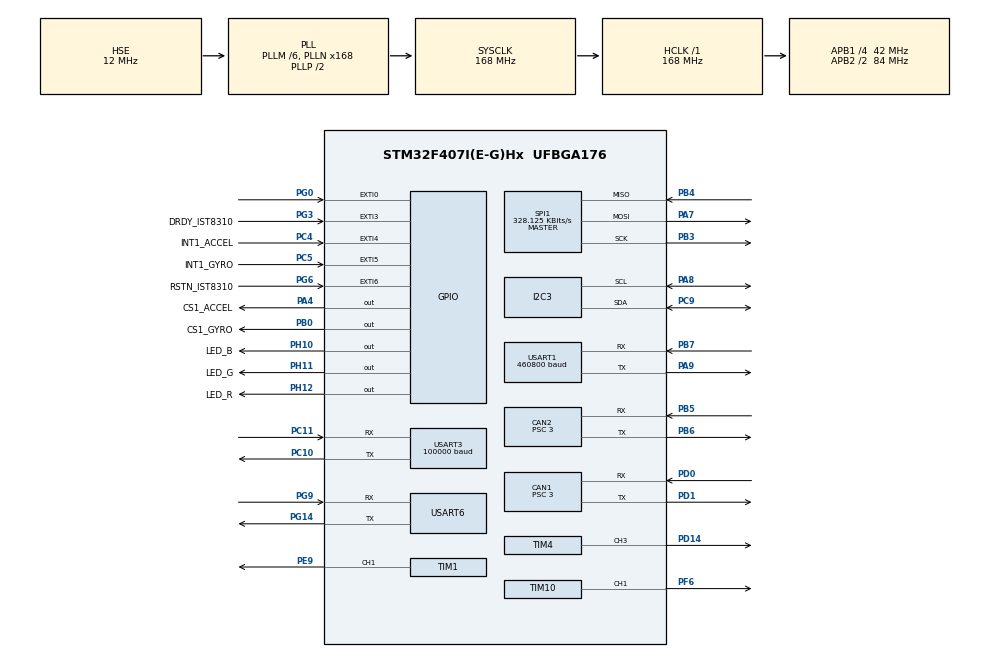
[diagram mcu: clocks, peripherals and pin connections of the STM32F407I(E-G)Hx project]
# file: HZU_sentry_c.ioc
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CAN1.BS1=CAN_BS1_10TQ
CAN1.BS2=CAN_BS2_3TQ
CAN1.CalculateBaudRate=1000000
CAN1.CalculateTimeBit=1000
CAN1.CalculateTimeQuantum=71.42857142857143
CAN1.Prescaler=3
CAN2.BS1=CAN_BS1_10TQ
CAN2.BS2=CAN_BS2_3TQ
CAN2.CalculateBaudRate=1000000
CAN2.CalculateTimeBit=1000
CAN2.CalculateTimeQuantum=71.42857142857143
CAN2.Prescaler=3
Dma.Request0=USART3_RX
Dma.Request1=USART1_RX
Dma.Request2=USART1_TX
Dma.Request3=SPI1_RX
Dma.Request4=SPI1_TX
Dma.Request5=USART6_RX
Dma.SPI1_RX.3.Direction=DMA_PERIPH_TO_MEMORY
Dma.SPI1_RX.3.FIFOMode=DMA_FIFOMODE_DISABLE
Dma.SPI1_RX.3.Instance=DMA2_Stream2
Dma.SPI1_RX.3.MemDataAlignment=DMA_MDATAALIGN_BYTE
Dma.SPI1_RX.3.MemInc=DMA_MINC_ENABLE
Dma.SPI1_RX.3.Mode=DMA_NORMAL
Dma.SPI1_RX.3.PeriphDataAlignment=DMA_PDATAALIGN_BYTE
Dma.SPI1_RX.3.PeriphInc=DMA_PINC_DISABLE
Dma.SPI1_RX.3.Priority=DMA_PRIORITY_VERY_HIGH
Dma.SPI1_TX.4.Direction=DMA_MEMORY_TO_PERIPH
Dma.SPI1_TX.4.FIFOMode=DMA_FIFOMODE_DISABLE
Dma.SPI1_TX.4.Instance=DMA2_Stream3
Dma.SPI1_TX.4.MemDataAlignment=DMA_MDATAALIGN_BYTE
Dma.SPI1_TX.4.MemInc=DMA_MINC_ENABLE
Dma.SPI1_TX.4.Mode=DMA_NORMAL
Dma.SPI1_TX.4.PeriphDataAlignment=DMA_PDATAALIGN_BYTE
Dma.SPI1_TX.4.PeriphInc=DMA_PINC_DISABLE
Dma.SPI1_TX.4.Priority=DMA_PRIORITY_HIGH
Dma.USART1_RX.1.Direction=DMA_PERIPH_TO_MEMORY
Dma.USART1_RX.1.FIFOMode=DMA_FIFOMODE_DISABLE
Dma.USART1_RX.1.Instance=DMA2_Stream5
Dma.USART1_RX.1.MemDataAlignment=DMA_MDATAALIGN_BYTE
Dma.USART1_RX.1.MemInc=DMA_MINC_ENABLE
Dma.USART1_RX.1.Mode=DMA_NORMAL
Dma.USART1_RX.1.PeriphDataAlignment=DMA_PDATAALIGN_BYTE
Dma.USART1_RX.1.PeriphInc=DMA_PINC_DISABLE
Dma.USART1_RX.1.Priority=DMA_PRIORITY_HIGH
Dma.USART1_TX.2.Direction=DMA_MEMORY_TO_PERIPH
Dma.USART1_TX.2.FIFOMode=DMA_FIFOMODE_DISABLE
Dma.USART1_TX.2.Instance=DMA2_Stream7
Dma.USART1_TX.2.MemDataAlignment=DMA_MDATAALIGN_BYTE
Dma.USART1_TX.2.MemInc=DMA_MINC_ENABLE
Dma.USART1_TX.2.Mode=DMA_NORMAL
Dma.USART1_TX.2.PeriphDataAlignment=DMA_PDATAALIGN_BYTE
Dma.USART1_TX.2.PeriphInc=DMA_PINC_DISABLE
Dma.USART1_TX.2.Priority=DMA_PRIORITY_MEDIUM
Dma.USART3_RX.0.Direction=DMA_PERIPH_TO_MEMORY
Dma.USART3_RX.0.FIFOMode=DMA_FIFOMODE_DISABLE
Dma.USART3_RX.0.Instance=DMA1_Stream1
Dma.USART3_RX.0.MemDataAlignment=DMA_MDATAALIGN_BYTE
Dma.USART3_RX.0.MemInc=DMA_MINC_ENABLE
Dma.USART3_RX.0.Mode=DMA_CIRCULAR
Dma.USART3_RX.0.PeriphDataAlignment=DMA_PDATAALIGN_BYTE
Dma.USART3_RX.0.PeriphInc=DMA_PINC_DISABLE
Dma.USART3_RX.0.Priority=DMA_PRIORITY_HIGH
Dma.USART6_RX.5.Direction=DMA_PERIPH_TO_MEMORY
Dma.USART6_RX.5.FIFOMode=DMA_FIFOMODE_DISABLE
Dma.USART6_RX.5.Instance=DMA2_Stream1
Dma.USART6_RX.5.MemDataAlignment=DMA_MDATAALIGN_BYTE
Dma.USART6_RX.5.MemInc=DMA_MINC_ENABLE
Dma.USART6_RX.5.Mode=DMA_NORMAL
Dma.USART6_RX.5.PeriphDataAlignment=DMA_PDATAALIGN_BYTE
Dma.USART6_RX.5.PeriphInc=DMA_PINC_DISABLE
Dma.USART6_RX.5.Priority=DMA_PRIORITY_HIGH
FREERTOS.INCLUDE_pcTaskGetTaskName=1
FREERTOS.INCLUDE_uxTaskGetStackHighWaterMark2=1
FREERTOS.INCLUDE_vTaskCleanUpResources=1
FREERTOS.INCLUDE_xEventGroupSetBitFromISR=1
FREERTOS.INCLUDE_xSemaphoreGetMutexHolder=1
FREERTOS.INCLUDE_xTaskAbortDelay=1
FREERTOS.INCLUDE_xTaskGetHandle=1
FREERTOS.Tasks01=defaultTask,24,128,StartDefaultTask,Default,NULL,Dynamic,NULL,NULL
FREERTOS.configCHECK_FOR_STACK_OVERFLOW=2
FREERTOS.configENABLE_BACKWARD_COMPATIBILITY=0
FREERTOS.configENABLE_FPU=1
FREERTOS.configGENERATE_RUN_TIME_STATS=1
FREERTOS.configRECORD_STACK_HIGH_ADDRESS=1
FREERTOS.configTOTAL_HEAP_SIZE=0x6000
FREERTOS.configUSE_STATS_FORMATTING_FUNCTIONS=1
Mcu.Family=STM32F4
Mcu.Name=STM32F407I(E-G)Hx
Mcu.Package=UFBGA176
NVIC.CAN1_RX0_IRQn=true\:5\:0\:false\:false\:true\:true\:true\:true\:true
NVIC.CAN2_RX0_IRQn=true\:5\:0\:false\:false\:true\:true\:true\:true\:true
NVIC.CAN2_TX_IRQn=true\:5\:0\:false\:false\:true\:true\:true\:true\:true
NVIC.DMA1_Stream1_IRQn=true\:5\:0\:false\:false\:true\:true\:false\:true\:true
NVIC.DMA2_Stream1_IRQn=true\:5\:0\:false\:false\:true\:true\:false\:true\:true
NVIC.DMA2_Stream2_IRQn=true\:5\:0\:true\:false\:true\:false\:false\:true\:true
NVIC.DMA2_Stream3_IRQn=true\:5\:0\:false\:false\:true\:true\:false\:true\:true
NVIC.DMA2_Stream5_IRQn=true\:5\:0\:true\:false\:true\:false\:false\:true\:true
NVIC.DMA2_Stream7_IRQn=true\:5\:0\:false\:false\:true\:true\:false\:true\:true
NVIC.EXTI0_IRQn=true\:5\:0\:false\:false\:true\:true\:true\:true\:true
NVIC.EXTI3_IRQn=true\:5\:0\:false\:false\:true\:true\:true\:true\:true
NVIC.EXTI4_IRQn=true\:5\:0\:false\:false\:true\:true\:true\:true\:true
NVIC.EXTI9_5_IRQn=true\:5\:0\:false\:false\:true\:true\:true\:true\:true
NVIC.PriorityGroup=NVIC_PRIORITYGROUP_4
NVIC.TIM2_IRQn=true\:15\:0\:false\:false\:true\:false\:false\:true\:true
NVIC.TIM3_IRQn=true\:5\:0\:false\:false\:true\:true\:true\:true\:true
NVIC.TimeBase=TIM2_IRQn
NVIC.TimeBaseIP=TIM2
NVIC.USART1_IRQn=true\:5\:0\:false\:false\:true\:true\:true\:true\:true
NVIC.USART6_IRQn=true\:5\:0\:false\:false\:true\:true\:true\:true\:true
PA13.Mode=Serial_Wire
PA13.Signal=SYS_JTMS-SWDIO
PA14.Mode=Serial_Wire
PA14.Signal=SYS_JTCK-SWCLK
PA4.GPIO_Label=CS1_ACCEL
PA4.GPIO_PuPd=GPIO_PULLUP
PA4.PinState=GPIO_PIN_SET
PA4.Signal=GPIO_Output
PA7.Mode=Full_Duplex_Master
PA7.Signal=SPI1_MOSI
PA8.Mode=I2C
PA8.Signal=I2C3_SCL
PA9.Mode=Asynchronous
PA9.Signal=USART1_TX
PB0.GPIO_Label=CS1_GYRO
PB0.GPIO_PuPd=GPIO_PULLUP
PB0.GPIO_Speed=GPIO_SPEED_FREQ_HIGH
PB0.Signal=GPIO_Output
PB3.Mode=Full_Duplex_Master
PB3.Signal=SPI1_SCK
PB4.Mode=Full_Duplex_Master
PB4.Signal=SPI1_MISO
PB5.Mode=CAN_Activate
PB5.Signal=CAN2_RX
PB6.Mode=CAN_Activate
PB6.Signal=CAN2_TX
PB7.Mode=Asynchronous
PB7.Signal=USART1_RX
PC10.Mode=Asynchronous
PC10.Signal=USART3_TX
PC11.Mode=Asynchronous
PC11.Signal=USART3_RX
PC4.GPIO_Label=INT1_ACCEL
PC4.GPIO_PuPd=GPIO_PULLUP
PC4.Signal=GPXTI4
PC5.GPIO_Label=INT1_GYRO
PC5.GPIO_PuPd=GPIO_PULLUP
PC5.Signal=GPXTI5
PC9.Mode=I2C
PC9.Signal=I2C3_SDA
PD0.Mode=CAN_Activate
PD0.Signal=CAN1_RX
PD1.Mode=CAN_Activate
PD1.Signal=CAN1_TX
PD14.Signal=S_TIM4_CH3
PE9.Signal=S_TIM1_CH1
PF6.Signal=S_TIM10_CH1
PG0.GPIO_PuPd=GPIO_PULLUP
PG0.Signal=GPXTI0
PG14.Mode=Asynchronous
PG14.Signal=USART6_TX
PG3.GPIO_Label=DRDY_IST8310
PG3.GPIO_PuPd=GPIO_PULLUP
PG3.Signal=GPXTI3
PG6.GPIO_Label=RSTN_IST8310
PG6.GPIO_PuPd=GPIO_PULLUP
PG6.Signal=GPXTI6
PG9.Mode=Asynchronous
PG9.Signal=USART6_RX
PH0-OSC_IN.Mode=HSE-External-Oscillator
PH0-OSC_IN.Signal=RCC_OSC_IN
PH1-OSC_OUT.Mode=HSE-External-Oscillator
PH1-OSC_OUT.Signal=RCC_OSC_OUT
PH10.GPIO_Label=LED_B
PH10.GPIO_PuPd=GPIO_PULLUP
PH10.GPIO_Speed=GPIO_SPEED_FREQ_VERY_HIGH
PH10.Signal=GPIO_Output
PH11.GPIO_Label=LED_G
PH11.GPIO_PuPd=GPIO_PULLUP
PH11.GPIO_Speed=GPIO_SPEED_FREQ_VERY_HIGH
PH11.Signal=GPIO_Output
PH12.GPIO_Label=LED_R
PH12.GPIO_PuPd=GPIO_PULLUP
PH12.GPIO_Speed=GPIO_SPEED_FREQ_VERY_HIGH
PH12.Signal=GPIO_Output
ProjectManager.HeapSize=0x200
ProjectManager.StackSize=0x400
ProjectManager.TargetToolchain=MDK-ARM V5.32
RCC.48MHZClocksFreq_Value=84000000
RCC.AHBFreq_Value=168000000
RCC.APB1CLKDivider=RCC_HCLK_DIV4
RCC.APB1Freq_Value=42000000
RCC.APB1TimFreq_Value=84000000
RCC.APB2CLKDivider=RCC_HCLK_DIV2
RCC.APB2Freq_Value=84000000
RCC.APB2TimFreq_Value=168000000
RCC.CortexFreq_Value=168000000
RCC.HCLKFreq_Value=168000000
RCC.HSE_VALUE=12000000
RCC.HSI_VALUE=16000000
RCC.LSE_VALUE=32768
RCC.PLLM=6
RCC.PLLN=168
RCC.PLLSourceVirtual=RCC_PLLSOURCE_HSE
RCC.SYSCLKFreq_VALUE=168000000
RCC.SYSCLKSource=RCC_SYSCLKSOURCE_PLLCLK
RCC.VCOOutputFreq_Value=336000000
SH.S_TIM10_CH1.0=TIM10_CH1,PWM Generation1 CH1
SH.S_TIM1_CH1.0=TIM1_CH1,PWM Generation1 CH1
SH.S_TIM4_CH3.0=TIM4_CH3,PWM Generation3 CH3
SPI1.BaudRatePrescaler=SPI_BAUDRATEPRESCALER_256
SPI1.CalculateBaudRate=328.125 KBits/s
SPI1.Direction=SPI_DIRECTION_2LINES
SPI1.Mode=SPI_MODE_MASTER
SPI1.VirtualType=VM_MASTER
TIM1.Channel-PWM\ Generation1\ CH1=TIM_CHANNEL_1
TIM1.Period=19999
TIM1.Prescaler=83
TIM1.Pulse-PWM\ Generation1\ CH1=10000
TIM10.Channel=TIM_CHANNEL_1
TIM10.Period=4999
TIM10.Pulse=2500
TIM3.Period=49
TIM3.Prescaler=83
TIM4.Channel-PWM\ Generation3\ CH3=TIM_CHANNEL_3
TIM4.Period=250
TIM4.Prescaler=83
TIM4.Pulse-PWM\ Generation3\ CH3=125
USART1.BaudRate=460800
USART1.VirtualMode=VM_ASYNC
USART3.BaudRate=100000
USART3.Mode=MODE_RX
USART3.Parity=PARITY_EVEN
USART3.VirtualMode=VM_ASYNC
USART6.VirtualMode=VM_ASYNC
VP_FREERTOS_VS_CMSIS_V2.Mode=CMSIS_V2
VP_SYS_VS_tim2.Mode=TIM2
VP_TIM10_VS_ClockSourceINT.Mode=Enable_Timer
VP_TIM3_VS_ClockSourceINT.Mode=Internal
VP_TIM4_VS_ClockSourceINT.Mode=Internal
board=custom

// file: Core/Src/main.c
/* USER CODE BEGIN Header */
/**
  ******************************************************************************
  * @file           : main.c
  * @brief          : Main program body
  ******************************************************************************
  * @attention
  *
  * Copyright (c) 2023 STMicroelectronics.
  * All rights reserved.
  *
  * This software is licensed under terms that can be found in the LICENSE file
  * in the root directory of this software component.
  * If no LICENSE file comes with this software, it is provided AS-IS.
  *
  ******************************************************************************
  */
/* USER CODE END Header */
#include "main.h"
#include "cmsis_os.h"
#include "can.h"
#include "dma.h"
#include "i2c.h"
#include "spi.h"
#include "tim.h"
#include "usart.h"
#include "gpio.h"

/* USER CODE BEGIN PV */
extern uint8_t abuffer;
float value=0;
uint8 getflag=0;
/* USER CODE END PV */

void SystemClock_Config(void);
void MX_FREERTOS_Init(void);

int main(void)
{

  /* MCU Configuration--------------------------------------------------------*/

  /* Reset of all peripherals, Initializes the Flash interface and the Systick. */
  HAL_Init();

  /* Configure the system clock */
  SystemClock_Config();

  /* USER CODE BEGIN SysInit */
		delay_init(168);
		delay_ms(100);
  /* USER CODE END SysInit */

  /* Initialize all configured peripherals */
  MX_GPIO_Init();
  MX_DMA_Init();
  MX_USART3_UART_Init();
  MX_USART1_UART_Init();
  MX_CAN1_Init();
  MX_CAN2_Init();
  MX_I2C3_Init();
  MX_SPI1_Init();
  MX_TIM1_Init();
  MX_TIM3_Init();
  MX_TIM4_Init();
  MX_TIM10_Init();
  MX_USART6_UART_Init();
  /* USER CODE BEGIN 2 */
	HAL_UART_Receive_IT(&huart6,(uint8_t*)&abuffer,1);
  led_configuration();
  freertos_run_tim3_configuration();
  usart_Receive_DMA();
  CAN_APP_INIT();
  oled_init();
  HAL_TIM_Base_Start(&htim1);
  HAL_TIM_PWM_Start(&htim1,TIM_CHANNEL_1);
  /* USER CODE END 2 */

  /* Init scheduler */
  osKernelInitialize();  /* Call init function for freertos objects (in freertos.c) */
  MX_FREERTOS_Init();

  /* Start scheduler */
  osKernelStart();

  /* We should never get here as control is now taken by the scheduler */
  /* Infinite loop */
  while (1)
  {

  }
}

void SystemClock_Config(void)
{
  RCC_OscInitTypeDef RCC_OscInitStruct = {0};
  RCC_ClkInitTypeDef RCC_ClkInitStruct = {0};

  /** Configure the main internal regulator output voltage
  */
  __HAL_RCC_PWR_CLK_ENABLE();
  __HAL_PWR_VOLTAGESCALING_CONFIG(PWR_REGULATOR_VOLTAGE_SCALE1);

  /** Initializes the RCC Oscillators according to the specified parameters
  * in the RCC_OscInitTypeDef structure.
  */
  RCC_OscInitStruct.OscillatorType = RCC_OSCILLATORTYPE_HSE;
  RCC_OscInitStruct.HSEState = RCC_HSE_ON;
  RCC_OscInitStruct.PLL.PLLState = RCC_PLL_ON;
  RCC_OscInitStruct.PLL.PLLSource = RCC_PLLSOURCE_HSE;
  RCC_OscInitStruct.PLL.PLLM = 6;
  RCC_OscInitStruct.PLL.PLLN = 168;
  RCC_OscInitStruct.PLL.PLLP = RCC_PLLP_DIV2;
  RCC_OscInitStruct.PLL.PLLQ = 4;
  if (HAL_RCC_OscConfig(&RCC_OscInitStruct) != HAL_OK)
  {
    Error_Handler();
  }

  /** Initializes the CPU, AHB and APB buses clocks
  */
  RCC_ClkInitStruct.ClockType = RCC_CLOCKTYPE_HCLK|RCC_CLOCKTYPE_SYSCLK
                              |RCC_CLOCKTYPE_PCLK1|RCC_CLOCKTYPE_PCLK2;
  RCC_ClkInitStruct.SYSCLKSource = RCC_SYSCLKSOURCE_PLLCLK;
  RCC_ClkInitStruct.AHBCLKDivider = RCC_SYSCLK_DIV1;
  RCC_ClkInitStruct.APB1CLKDivider = RCC_HCLK_DIV4;
  RCC_ClkInitStruct.APB2CLKDivider = RCC_HCLK_DIV2;

  if (HAL_RCC_ClockConfig(&RCC_ClkInitStruct, FLASH_LATENCY_5) != HAL_OK)
  {
    Error_Handler();
  }
}

void HAL_TIM_PeriodElapsedCallback(TIM_HandleTypeDef *htim)
{
  if (htim->Instance == TIM2) {
    HAL_IncTick();
  }
  /* USER CODE BEGIN Callback 1 */
		if(htim->Instance == TIM3)
		{
		value=value+1;
		getflag=1;

		}
  /* USER CODE END Callback 1 */
}

void Error_Handler(void)
{
  __disable_irq();
  while (1)
  {
  }
}

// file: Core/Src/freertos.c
/* USER CODE BEGIN Header */
/**
  ******************************************************************************
  * File Name          : freertos.c
  * Description        : Code for freertos applications
  ******************************************************************************
  * @attention
  *
  * Copyright (c) 2023 STMicroelectronics.
  * All rights reserved.
  *
  * This software is licensed under terms that can be found in the LICENSE file
  * in the root directory of this software component.
  * If no LICENSE file comes with this software, it is provided AS-IS.
  *
  ******************************************************************************
  */
/* USER CODE END Header */

#include "FreeRTOS.h"
#include "task.h"
#include "main.h"
#include "cmsis_os.h"

/* Definitions for defaultTask */
osThreadId_t defaultTaskHandle;
const osThreadAttr_t defaultTask_attributes = {
  .name = "defaultTask",
  .stack_size = 128 * 4,
  .priority = (osPriority_t) osPriorityNormal,
};

/* USER CODE BEGIN FunctionPrototypes */
osThreadId_t Start_Task_Handler;
const osThreadAttr_t Start_Task_attr = {
  .name = "Start_Task",
  .priority = (osPriority_t) osPriorityNormal,
  .stack_size = 256 * 4
};
extern void start_task(void *argument);

/* USER CODE END FunctionPrototypes */

void StartDefaultTask(void *argument);

void MX_FREERTOS_Init(void); /* (MISRA C 2004 rule 8.1) */

/* Hook prototypes */
void configureTimerForRunTimeStats(void);
unsigned long getRunTimeCounterValue(void);
void vApplicationStackOverflowHook(TaskHandle_t xTask, signed char *pcTaskName);

/* USER CODE BEGIN 1 */
/* Functions needed when configGENERATE_RUN_TIME_STATS is on */
__weak void configureTimerForRunTimeStats(void)
{
	freertos_run_time = 0;
    MX_TIM3_Init();
}

__weak unsigned long getRunTimeCounterValue(void)
{
	return freertos_run_time;
}
/* USER CODE END 1 */

/* USER CODE BEGIN 4 */
void vApplicationStackOverflowHook(TaskHandle_t xTask, signed char *pcTaskName)
{
   /* Run time stack overflow checking is performed if
   configCHECK_FOR_STACK_OVERFLOW is defined to 1 or 2. This hook function is
   called if a stack overflow is detected. */
}
/* USER CODE END 4 */

void MX_FREERTOS_Init(void) {

  /* Create the thread(s) */
  /* creation of defaultTask */
  defaultTaskHandle = osThreadNew(StartDefaultTask, NULL, &defaultTask_attributes);

  /* USER CODE BEGIN RTOS_THREADS */
  /* add threads, ... */
  Start_Task_Handler = osThreadNew(start_task, NULL, &Start_Task_attr);
  /* USER CODE END RTOS_THREADS */

}

void StartDefaultTask(void *argument)
{
  for(;;)
  {
    osDelay(1);
  }
}
